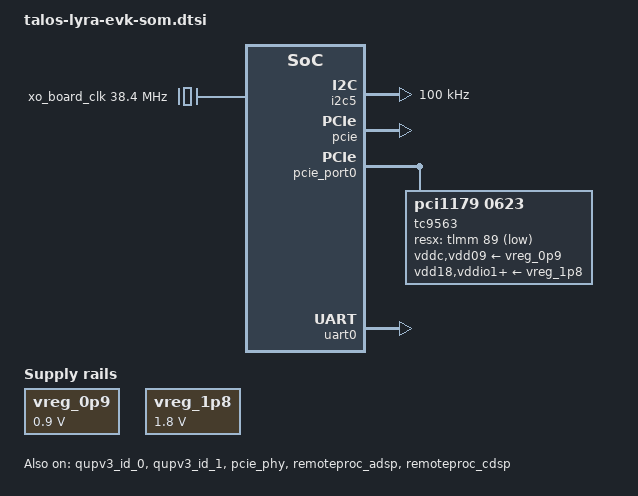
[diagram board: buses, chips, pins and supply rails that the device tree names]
// SPDX-License-Identifier: BSD-3-Clause
/*
 * Copyright (c) Qualcomm Technologies, Inc. and/or its subsidiaries.
 */
/dts-v1/;

#include <dt-bindings/gpio/gpio.h>
#include <dt-bindings/regulator/qcom,rpmh-regulator.h>
#include "talos.dtsi"
#include "pm8150.dtsi"
/ {
	aliases {
		serial0 = &uart0;
	};

	chosen {
		stdout-path = "serial0:115200n8";
	};

	clocks {
		sleep_clk: sleep-clk {
			compatible = "fixed-clock";
			clock-frequency = <32764>;
			#clock-cells = <0>;
		};

		xo_board_clk: xo-board-clk {
			compatible = "fixed-clock";
			clock-frequency = <38400000>;
			#clock-cells = <0>;
		};
	};

	vreg_0p9: regulator-0v9 {
		compatible = "regulator-fixed";
		regulator-name = "VREG_0P9";
		regulator-min-microvolt = <900000>;
		regulator-max-microvolt = <900000>;
		regulator-always-on;
		regulator-boot-on;
	};

	vreg_1p8: regulator-1v8 {
		compatible = "regulator-fixed";
		regulator-name = "VREG_1P8";
		regulator-min-microvolt = <1800000>;
		regulator-max-microvolt = <1800000>;
		regulator-always-on;
		regulator-boot-on;
	};

};

&apps_rsc {
	regulators-0 {
		compatible = "qcom,pm8150-rpmh-regulators";
		qcom,pmic-id = "a";

		vreg_s3a: smps3 {
			regulator-name = "vreg_s3a";
			regulator-min-microvolt = <600000>;
			regulator-max-microvolt = <650000>;
			regulator-initial-mode = <RPMH_REGULATOR_MODE_HPM>;
		};

		vreg_s4a: smps4 {
			regulator-name = "vreg_s4a";
			regulator-min-microvolt = <1800000>;
			regulator-max-microvolt = <1829000>;
			regulator-initial-mode = <RPMH_REGULATOR_MODE_HPM>;
		};

		vreg_s5a: smps5 {
			regulator-name = "vreg_s5a";
			regulator-min-microvolt = <1896000>;
			regulator-max-microvolt = <2040000>;
			regulator-initial-mode = <RPMH_REGULATOR_MODE_HPM>;
		};

		vreg_s6a: smps6 {
			regulator-name = "vreg_s6a";
			regulator-min-microvolt = <1304000>;
			regulator-max-microvolt = <1404000>;
			regulator-initial-mode = <RPMH_REGULATOR_MODE_HPM>;
		};

		vreg_l1a: ldo1 {
			regulator-name = "vreg_l1a";
			regulator-min-microvolt = <488000>;
			regulator-max-microvolt = <852000>;
			regulator-initial-mode = <RPMH_REGULATOR_MODE_LPM>;
			regulator-allow-set-load;
			regulator-allowed-modes = <RPMH_REGULATOR_MODE_LPM
						   RPMH_REGULATOR_MODE_HPM>;
		};

		vreg_l2a: ldo2 {
			regulator-name = "vreg_l2a";
			regulator-min-microvolt = <1650000>;
			regulator-max-microvolt = <3100000>;
			regulator-initial-mode = <RPMH_REGULATOR_MODE_LPM>;
			regulator-allow-set-load;
			regulator-allowed-modes = <RPMH_REGULATOR_MODE_LPM
						   RPMH_REGULATOR_MODE_HPM>;
		};

		vreg_l3a: ldo3 {
			regulator-name = "vreg_l3a";
			regulator-min-microvolt = <1000000>;
			regulator-max-microvolt = <1248000>;
			regulator-initial-mode = <RPMH_REGULATOR_MODE_LPM>;
			regulator-allow-set-load;
			regulator-allowed-modes = <RPMH_REGULATOR_MODE_LPM
						   RPMH_REGULATOR_MODE_HPM>;
		};

		vreg_l5a: ldo5 {
			regulator-name = "vreg_l5a";
			regulator-min-microvolt = <875000>;
			regulator-max-microvolt = <975000>;
			regulator-initial-mode = <RPMH_REGULATOR_MODE_HPM>;
			regulator-allow-set-load;
			regulator-allowed-modes = <RPMH_REGULATOR_MODE_LPM
						   RPMH_REGULATOR_MODE_HPM>;
		};

		vreg_l7a: ldo7 {
			regulator-name = "vreg_l7a";
			regulator-min-microvolt = <1800000>;
			regulator-max-microvolt = <1900000>;
			regulator-initial-mode = <RPMH_REGULATOR_MODE_HPM>;
			regulator-allow-set-load;
			regulator-allowed-modes = <RPMH_REGULATOR_MODE_LPM
						   RPMH_REGULATOR_MODE_HPM>;
		};

		vreg_l8a: ldo8 {
			regulator-name = "vreg_l8a";
			regulator-min-microvolt = <1150000>;
			regulator-max-microvolt = <1350000>;
			regulator-initial-mode = <RPMH_REGULATOR_MODE_HPM>;
			regulator-allow-set-load;
			regulator-allowed-modes = <RPMH_REGULATOR_MODE_LPM
						   RPMH_REGULATOR_MODE_HPM>;
		};

		vreg_l10a: ldo10 {
			regulator-name = "vreg_l10a";
			regulator-min-microvolt = <2950000>;
			regulator-max-microvolt = <3312000>;
			regulator-initial-mode = <RPMH_REGULATOR_MODE_HPM>;
			regulator-allow-set-load;
			regulator-allowed-modes = <RPMH_REGULATOR_MODE_LPM
						   RPMH_REGULATOR_MODE_HPM>;
		};

		vreg_l11a: ldo11 {
			regulator-name = "vreg_l11a";
			regulator-min-microvolt = <1232000>;
			regulator-max-microvolt = <1260000>;
			regulator-initial-mode = <RPMH_REGULATOR_MODE_LPM>;
			regulator-allow-set-load;
			regulator-allowed-modes = <RPMH_REGULATOR_MODE_LPM
						   RPMH_REGULATOR_MODE_HPM>;
		};

		vreg_l12a: ldo12 {
			regulator-name = "vreg_l12a";
			regulator-min-microvolt = <1800000>;
			regulator-max-microvolt = <1890000>;
			regulator-initial-mode = <RPMH_REGULATOR_MODE_HPM>;
		};

		vreg_l13a: ldo13 {
			regulator-name = "vreg_l13a";
			regulator-min-microvolt = <3000000>;
			regulator-max-microvolt = <3230000>;
			regulator-initial-mode = <RPMH_REGULATOR_MODE_LPM>;
			regulator-allow-set-load;
			regulator-allowed-modes = <RPMH_REGULATOR_MODE_LPM
						   RPMH_REGULATOR_MODE_HPM>;
		};

		vreg_l15a: ldo15 {
			regulator-name = "vreg_l15a";
			regulator-min-microvolt = <1800000>;
			regulator-max-microvolt = <1904000>;
			regulator-initial-mode = <RPMH_REGULATOR_MODE_LPM>;
			regulator-allow-set-load;
			regulator-allowed-modes = <RPMH_REGULATOR_MODE_LPM
						   RPMH_REGULATOR_MODE_HPM>;
		};

		vreg_l16a: ldo16 {
			regulator-name = "vreg_l16a";
			regulator-min-microvolt = <3000000>;
			regulator-max-microvolt = <3312000>;
			regulator-initial-mode = <RPMH_REGULATOR_MODE_LPM>;
			regulator-allow-set-load;
			regulator-allowed-modes = <RPMH_REGULATOR_MODE_LPM
						   RPMH_REGULATOR_MODE_HPM>;
		};

		vreg_l17a: ldo17 {
			regulator-name = "vreg_l17a";
			regulator-min-microvolt = <2950000>;
			regulator-max-microvolt = <3312000>;
			regulator-initial-mode = <RPMH_REGULATOR_MODE_HPM>;
		};
	};
};

&gcc {
	clocks = <&rpmhcc RPMH_CXO_CLK>,
		 <&rpmhcc RPMH_CXO_CLK_A>,
		 <&sleep_clk>;
};

&qupv3_id_0 {
	status = "okay";
};

&qupv3_id_1 {
	status = "okay";
};

&i2c5 {
	clock-frequency = <100000>;

	status = "okay";
};

&pcie {
	wake-gpios = <&tlmm 100 GPIO_ACTIVE_HIGH>;

	iommu-map = <0x0 &apps_smmu 0x400 0x1>,
		    <0x100 &apps_smmu 0x401 0x1>,
		    <0x208 &apps_smmu 0x402 0x1>,
		    <0x210 &apps_smmu 0x403 0x1>,
		    <0x218 &apps_smmu 0x404 0x1>,
		    <0x300 &apps_smmu 0x405 0x1>,
		    <0x400 &apps_smmu 0x406 0x1>,
		    <0x500 &apps_smmu 0x407 0x1>,
		    <0x501 &apps_smmu 0x408 0x1>;

	status = "okay";
};

&pcie_phy {
	vdda-phy-supply = <&vreg_l5a>;
	vdda-pll-supply = <&vreg_l12a>;

	status = "okay";
};

&pcie_port0 {
	tc9563: pcie@0,0 {
		compatible = "pci1179,0623";
		reg = <0x10000 0x0 0x0 0x0 0x0>;
		#address-cells = <3>;
		#size-cells = <2>;
		#gpio-cells = <2>;
		device_type = "pci";
		ranges;
		bus-range = <0x2 0xff>;

		vddc-supply = <&vreg_0p9>;
		vdd18-supply = <&vreg_1p8>;
		vdd09-supply = <&vreg_0p9>;
		vddio1-supply = <&vreg_1p8>;
		vddio2-supply = <&vreg_1p8>;
		vddio18-supply = <&vreg_1p8>;

		i2c-parent = <&i2c5 0x77>;

		resx-gpios = <&tlmm 89 GPIO_ACTIVE_LOW>;

		pinctrl-0 = <&tc9563_resx_state>;
		pinctrl-names = "default";

		pcie@1,0 {
			reg = <0x20800 0x0 0x0 0x0 0x0>;
			#address-cells = <3>;
			#size-cells = <2>;
			device_type = "pci";
			ranges;
			bus-range = <0x3 0xff>;

			ep-pwr-en-gpio = <&tc9563 2 GPIO_ACTIVE_HIGH>;
			ep-reset-gpio = <&tc9563 5 GPIO_ACTIVE_HIGH>;
		};

		pcie@2,0 {
			reg = <0x21000 0x0 0x0 0x0 0x0>;
			#address-cells = <3>;
			#size-cells = <2>;
			device_type = "pci";
			ranges;
			bus-range = <0x4 0xff>;

			ep-pwr-en-gpio = <&tc9563 4 GPIO_ACTIVE_HIGH>;
			ep-reset-gpio = <&tc9563 3 GPIO_ACTIVE_HIGH>;
		};

		pcie@3,0 {
			reg = <0x21800 0x0 0x0 0x0 0x0>;
			#address-cells = <3>;
			#size-cells = <2>;
			device_type = "pci";
			ranges;
			bus-range = <0x5 0xff>;

			pci@0,0 {
				reg = <0x50000 0x0 0x0 0x0 0x0>;
				#address-cells = <3>;
				#size-cells = <2>;
				device_type = "pci";
				ranges;
			};

			pci@0,1 {
				reg = <0x50100 0x0 0x0 0x0 0x0>;
				#address-cells = <3>;
				#size-cells = <2>;
				device_type = "pci";
				ranges;
			};
		};
	};
};

&remoteproc_adsp {
	firmware-name = "qcom/qcs615/adsp.mbn";

	status = "okay";
};

&remoteproc_cdsp {
	firmware-name = "qcom/qcs615/cdsp.mbn";

	status = "okay";
};

&rpmhcc {
	clocks = <&xo_board_clk>;
};

&tlmm {
	pcie_default_state: pcie-default-state {
		clkreq-pins {
			pins = "gpio90";
			function = "pcie_clk_req";
			drive-strength = <2>;
			bias-pull-up;
		};

		wake-pins {
			pins = "gpio100";
			function = "gpio";
			drive-strength = <2>;
			bias-pull-up;
		};
	};

	tc9563_resx_state: tc9563-resx-state {
		pins = "gpio89";
		function = "gpio";
		drive-strength = <2>;
		bias-disable;
	};
};

&uart0 {
	status = "okay";
};

